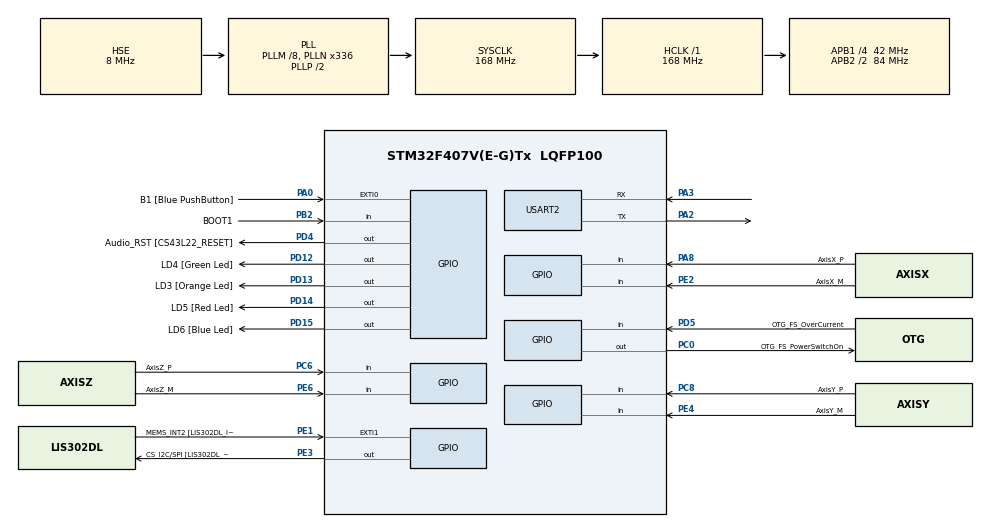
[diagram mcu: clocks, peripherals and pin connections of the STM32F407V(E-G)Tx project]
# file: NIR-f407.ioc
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Mcu.Family=STM32F4
Mcu.Name=STM32F407V(E-G)Tx
Mcu.Package=LQFP100
NVIC.PriorityGroup=NVIC_PRIORITYGROUP_0
NVIC.TIM1_CC_IRQn=true\:0\:0\:false\:false\:true\:true\:true
NVIC.USART2_IRQn=true\:0\:0\:false\:false\:true\:true\:true
PA0-WKUP.GPIO_Label=B1 [Blue PushButton]
PA0-WKUP.GPIO_ModeDefaultEXTI=GPIO_MODE_EVT_RISING
PA0-WKUP.GPIO_PuPd=GPIO_NOPULL
PA0-WKUP.Signal=GPXTI0
PA10.GPIO_Label=OTG_FS_ID
PA10.GPIO_Mode=GPIO_MODE_AF_PP
PA10.GPIO_PuPd=GPIO_NOPULL
PA10.GPIO_Speed=GPIO_SPEED_FREQ_LOW
PA10.Signal=USB_OTG_FS_ID
PA11.GPIO_Label=OTG_FS_DM
PA11.GPIO_Mode=GPIO_MODE_AF_PP
PA11.GPIO_PuPd=GPIO_NOPULL
PA11.GPIO_Speed=GPIO_SPEED_FREQ_LOW
PA11.Signal=USB_OTG_FS_DM
PA12.GPIO_Label=OTG_FS_DP
PA12.GPIO_Mode=GPIO_MODE_AF_PP
PA12.GPIO_PuPd=GPIO_NOPULL
PA12.GPIO_Speed=GPIO_SPEED_FREQ_LOW
PA12.Signal=USB_OTG_FS_DP
PA13.GPIO_Label=SWDIO
PA13.Mode=Serial_Wire
PA13.Signal=SYS_JTMS-SWDIO
PA14.GPIO_Label=SWCLK
PA14.Mode=Serial_Wire
PA14.Signal=SYS_JTCK-SWCLK
PA2.Mode=Asynchronous
PA2.Signal=USART2_TX
PA3.Mode=Asynchronous
PA3.Signal=USART2_RX
PA4.GPIO_Label=I2S3_WS [CS43L22_LRCK]
PA4.GPIO_Mode=GPIO_MODE_AF_PP
PA4.GPIO_PuPd=GPIO_NOPULL
PA4.GPIO_Speed=GPIO_SPEED_FREQ_LOW
PA4.Signal=I2S3_WS
PA5.GPIO_Label=SPI1_SCK [LIS302DL_SCL/SPC]
PA5.GPIO_Mode=GPIO_MODE_AF_PP
PA5.GPIO_PuPd=GPIO_NOPULL
PA5.GPIO_Speed=GPIO_SPEED_FREQ_LOW
PA5.Signal=SPI1_SCK
PA6.GPIO_Label=SPI1_MISO [LIS302DL_SDO]
PA6.GPIO_Mode=GPIO_MODE_AF_PP
PA6.GPIO_PuPd=GPIO_NOPULL
PA6.GPIO_Speed=GPIO_SPEED_FREQ_LOW
PA6.Signal=SPI1_MISO
PA7.GPIO_Label=SPI1_MOSI [LIS302DL_SDA/SDI/SDO]
PA7.GPIO_Mode=GPIO_MODE_AF_PP
PA7.GPIO_PuPd=GPIO_NOPULL
PA7.GPIO_Speed=GPIO_SPEED_FREQ_LOW
PA7.Signal=SPI1_MOSI
PA8.GPIO_Label=AxisX_P
PA8.GPIO_PuPd=GPIO_PULLUP
PA8.Signal=GPIO_Input
PA9.GPIO_Label=VBUS_FS
PA9.GPIO_Mode=GPIO_MODE_INPUT
PA9.GPIO_PuPd=GPIO_NOPULL
PA9.Signal=USB_OTG_FS_VBUS
PB10.GPIO_Label=CLK_IN [MP45DT02_CLK]
PB10.GPIO_Mode=GPIO_MODE_AF_PP
PB10.GPIO_PuPd=GPIO_NOPULL
PB10.GPIO_Speed=GPIO_SPEED_FREQ_LOW
PB10.Signal=I2S2_CK
PB2.GPIO_Label=BOOT1
PB2.GPIO_Mode=GPIO_MODE_INPUT
PB2.GPIO_PuPd=GPIO_NOPULL
PB2.Signal=GPIO_Input
PB3.GPIO_Label=SWO
PB3.Signal=SYS_JTDO-SWO
PB6.GPIO_Label=Audio_SCL [CS43L22_SCL]
PB6.GPIO_Mode=GPIO_MODE_AF_OD
PB6.GPIO_PuPd=GPIO_NOPULL
PB6.GPIO_Speed=GPIO_SPEED_FREQ_LOW
PB6.Signal=I2C1_SCL
PB9.GPIO_Label=Audio_SDA [CS43L22_SDA]
PB9.GPIO_Mode=GPIO_MODE_AF_OD
PB9.GPIO_PuPd=GPIO_NOPULL
PB9.GPIO_Speed=GPIO_SPEED_FREQ_LOW
PB9.Signal=I2C1_SDA
PC0.GPIO_Label=OTG_FS_PowerSwitchOn
PC0.GPIO_PuPd=GPIO_NOPULL
PC0.GPIO_Speed=GPIO_SPEED_FREQ_LOW
PC0.PinState=GPIO_PIN_SET
PC0.Signal=GPIO_Output
PC10.GPIO_Label=I2S3_SCK [CS43L22_SCLK]
PC10.GPIO_Mode=GPIO_MODE_AF_PP
PC10.GPIO_PuPd=GPIO_NOPULL
PC10.GPIO_Speed=GPIO_SPEED_FREQ_LOW
PC10.Signal=I2S3_CK
PC12.GPIO_Label=I2S3_SD [CS43L22_SDIN]
PC12.GPIO_Mode=GPIO_MODE_AF_PP
PC12.GPIO_PuPd=GPIO_NOPULL
PC12.GPIO_Speed=GPIO_SPEED_FREQ_LOW
PC12.Signal=I2S3_SD
PC14-OSC32_IN.GPIO_Label=PC14-OSC32_IN
PC14-OSC32_IN.Mode=LSE-External-Oscillator
PC14-OSC32_IN.Signal=RCC_OSC32_IN
PC15-OSC32_OUT.GPIO_Label=PC15-OSC32_OUT
PC15-OSC32_OUT.Mode=LSE-External-Oscillator
PC15-OSC32_OUT.Signal=RCC_OSC32_OUT
PC3.GPIO_Label=PDM_OUT [MP45DT02_DOUT]
PC3.GPIO_Mode=GPIO_MODE_AF_PP
PC3.GPIO_PuPd=GPIO_NOPULL
PC3.GPIO_Speed=GPIO_SPEED_FREQ_LOW
PC3.Signal=I2S2_SD
PC6.GPIO_Label=AxisZ_P
PC6.GPIO_PuPd=GPIO_PULLUP
PC6.Signal=GPIO_Input
PC7.GPIO_Label=I2S3_MCK [CS43L22_MCLK]
PC7.GPIO_Mode=GPIO_MODE_AF_PP
PC7.GPIO_PuPd=GPIO_NOPULL
PC7.GPIO_Speed=GPIO_SPEED_FREQ_LOW
PC7.Signal=I2S3_MCK
PC8.GPIO_Label=AxisY_P
PC8.GPIO_PuPd=GPIO_PULLUP
PC8.Signal=GPIO_Input
PD12.GPIO_Label=LD4 [Green Led]
PD12.GPIO_PuPd=GPIO_NOPULL
PD12.GPIO_Speed=GPIO_SPEED_FREQ_LOW
PD12.Signal=GPIO_Output
PD13.GPIO_Label=LD3 [Orange Led]
PD13.GPIO_PuPd=GPIO_NOPULL
PD13.GPIO_Speed=GPIO_SPEED_FREQ_LOW
PD13.Signal=GPIO_Output
PD14.GPIO_Label=LD5 [Red Led]
PD14.GPIO_PuPd=GPIO_NOPULL
PD14.GPIO_Speed=GPIO_SPEED_FREQ_LOW
PD14.Signal=GPIO_Output
PD15.GPIO_Label=LD6 [Blue Led]
PD15.GPIO_PuPd=GPIO_NOPULL
PD15.GPIO_Speed=GPIO_SPEED_FREQ_LOW
PD15.Signal=GPIO_Output
PD4.GPIO_Label=Audio_RST [CS43L22_RESET]
PD4.GPIO_PuPd=GPIO_NOPULL
PD4.GPIO_Speed=GPIO_SPEED_FREQ_LOW
PD4.Signal=GPIO_Output
PD5.GPIO_Label=OTG_FS_OverCurrent
PD5.GPIO_Mode=GPIO_MODE_INPUT
PD5.GPIO_PuPd=GPIO_NOPULL
PD5.Signal=GPIO_Input
PE1.GPIO_Label=MEMS_INT2 [LIS302DL_INT2]
PE1.GPIO_ModeDefaultEXTI=GPIO_MODE_EVT_RISING
PE1.GPIO_PuPd=GPIO_NOPULL
PE1.Signal=GPXTI1
PE2.GPIO_Label=AxisX_M
PE2.GPIO_PuPd=GPIO_PULLUP
PE2.Signal=GPIO_Input
PE3.GPIO_Label=CS_I2C/SPI [LIS302DL_CS_I2C/SPI]
PE3.GPIO_PuPd=GPIO_NOPULL
PE3.GPIO_Speed=GPIO_SPEED_FREQ_LOW
PE3.Signal=GPIO_Output
PE4.GPIO_Label=AxisY_M
PE4.GPIO_PuPd=GPIO_PULLUP
PE4.Signal=GPIO_Input
PE6.GPIO_Label=AxisZ_M
PE6.GPIO_PuPd=GPIO_PULLUP
PE6.Signal=GPIO_Input
PH0-OSC_IN.GPIO_Label=PH0-OSC_IN
PH0-OSC_IN.Mode=HSE-External-Oscillator
PH0-OSC_IN.Signal=RCC_OSC_IN
PH1-OSC_OUT.GPIO_Label=PH1-OSC_OUT
PH1-OSC_OUT.Mode=HSE-External-Oscillator
PH1-OSC_OUT.Signal=RCC_OSC_OUT
ProjectManager.HeapSize=0xA000
ProjectManager.StackSize=0x1000
ProjectManager.TargetToolchain=MDK-ARM V5
RCC.48MHZClocksFreq_Value=48000000
RCC.AHBFreq_Value=168000000
RCC.APB1CLKDivider=RCC_HCLK_DIV4
RCC.APB1Freq_Value=42000000
RCC.APB1TimFreq_Value=84000000
RCC.APB2CLKDivider=RCC_HCLK_DIV2
RCC.APB2Freq_Value=84000000
RCC.APB2TimFreq_Value=168000000
RCC.CortexFreq_Value=168000000
RCC.HCLKFreq_Value=168000000
RCC.HSE_VALUE=8000000
RCC.HSI_VALUE=16000000
RCC.PLLM=8
RCC.PLLN=336
RCC.PLLQ=7
RCC.PLLSourceVirtual=RCC_PLLSOURCE_HSE
RCC.SYSCLKFreq_VALUE=168000000
RCC.SYSCLKSource=RCC_SYSCLKSOURCE_PLLCLK
RCC.VCOOutputFreq_Value=336000000
TIM1.Channel-Output\ Compare1\ No\ Output=TIM_CHANNEL_1
TIM1.OCMode_1=TIM_OCMODE_ACTIVE
TIM1.Period=1500
TIM1.Prescaler=83
TIM1.Pulse-Output\ Compare1\ No\ Output=1000
USART2.VirtualMode=VM_ASYNC
VP_TIM1_VS_ClockSourceINT.Mode=Internal
VP_TIM1_VS_no_output1.Mode=Output Compare1 No Output
board=STM32F407G-DISC1

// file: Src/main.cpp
/* USER CODE BEGIN Header */
/**
  ******************************************************************************
  * @file           : main.c
  * @brief          : Main program body
  ******************************************************************************
  * @attention
  *
  * <h2><center>&copy; Copyright (c) 2019 STMicroelectronics.
  * All rights reserved.</center></h2>
  *
  * This software component is licensed by ST under Ultimate Liberty license
  * SLA0044, the "License"; You may not use this file except in compliance with
  * the License. You may obtain a copy of the License at:
  *                             www.st.com/SLA0044
  *
  ******************************************************************************
  */
/* USER CODE END Header */

#include "main.h"

/* USER CODE BEGIN Includes */

#include <string.h>

#include "correct_Eigen_include.h"
#include "manipulator/main_interface.h"

/* USER CODE END Includes */

/* USER CODE BEGIN PD */

#define M_PI 3.1415926535897932384626433832795

#define KINEMATIC_SCHEME_1 0
#define KINEMATIC_SCHEME_2 1

#define CURRENT_KINEMATIC_SCHEME KINEMATIC_SCHEME_2

/* USER CODE END PD */

TIM_HandleTypeDef htim1;

UART_HandleTypeDef huart2;

void SystemClock_Config(void);
static void MX_GPIO_Init(void);
static void MX_TIM1_Init(void);
static void MX_USART2_UART_Init(void);

int main(void)
{

  /* MCU Configuration--------------------------------------------------------*/

  /* Reset of all peripherals, Initializes the Flash interface and the Systick. */
  HAL_Init();

  /* Configure the system clock */
  SystemClock_Config();

  /* Initialize all configured peripherals */
  MX_GPIO_Init();
  MX_TIM1_Init();
  MX_USART2_UART_Init();
  /* USER CODE BEGIN 2 */

  HAL_TIM_Base_Start_IT(&htim1);
  HAL_TIM_OC_Start_IT(&htim1, TIM_CHANNEL_1);

  Vector3f baseSize(4, 1, 4);
	Vector3f zero(0, 0, 0);

	Part basePart(zero, Vector3f::UnitZ(), true);
	basePart.setRoughBounding(baseSize, zero, zero);
	basePart.addBox(baseSize, zero, zero);

    Vector3f obs1Pos(-1.75f, 1.25f, 0);
	Part obstacle1(obs1Pos, Vector3f::UnitY(), true);
    obstacle1.setParent(&basePart);
	obstacle1.setRoughBounding(Vector3f(1, 2.4f, 1.6f), Vector3f(0, 0.45f, 0), zero);
	obstacle1.addBox(Vector3f(0.5f, 1.5f, 1.0f), zero, zero);
	obstacle1.addCilinder(0.5f, 0.8f, Vector3f(0, 1.15f, 0), zero);

    Vector3f obs2Pos(4, 2, 0);
	Part obstacle2(obs2Pos, Vector3f::UnitY(), true);
    obstacle2.setParent(&basePart);
	obstacle2.setRoughBounding(Vector3f(4, 4, 4), zero, zero);
	obstacle2.addBox(Vector3f(4, 4, 4), zero, zero);

    Vector3f obs3Pos(-2, 3, 2);
	Part obstacle3(obs3Pos, Vector3f::UnitY(), true);
    obstacle3.setParent(&basePart);
	obstacle3.setRoughBounding(Vector3f(0.5f, 6.25f, 0.5f), Vector3f(0, 0.125f, 0), zero);
	obstacle3.addCilinder(0.05f, 3, zero, Vector3f(M_PI / 2, 0, 0));
    obstacle3.addSphere(0.25f, Vector3f(0,3,0), zero);

#if CURRENT_KINEMATIC_SCHEME == KINEMATIC_SCHEME_1

	Vector3f joint1(0, 0.5f, 0);
	Part part1(joint1, Vector3f::UnitY(), true);
	part1.setParent(&basePart);
	part1.setRoughBounding(Vector3f(1, 2.6f, 1), Vector3f(0, 1.3f, 0), zero);
	part1.addCilinder(0.5f, 0.25f, Vector3f(0, 0.25f, 0), Vector3f(M_PI / 2, 0, 0));
	part1.addCilinder(0.3f, 1, Vector3f(0, 1.4f, 0), Vector3f(M_PI / 2, 0, 0));

	Vector3f joint2(0, 2.4f, 0);
	Part part2(joint2, Vector3f::UnitZ(), true);
	part2.setParent(&part1);
	part2.setRoughBounding(Vector3f(1, 3.5f, 1), Vector3f(0, 1.3f, 0), zero);
	part2.addCilinder(0.2f, 0.7f, Vector3f(0, 1.3f, 0), Vector3f(M_PI / 2, 0, 0));
	part2.addCilinder(0.25f, 0.3f, zero, zero);
	part2.addCilinder(0.25f, 0.3f, Vector3f(0, 2.6f, 0), zero);
	part2.addBox(Vector3f(0.5f, 0.6f, 0.6f), Vector3f(0, 0.32f, 0), zero);
	part2.addBox(Vector3f(0.5f, 0.6f, 0.6f), Vector3f(0, 2.28f, 0), zero);

	Vector3f joint3(0, 2.6f, 0);
	Part part3(joint3, Vector3f::UnitZ(), true);
	part3.setParent(&part2);
	part3.setRoughBounding(Vector3f(1.5f, 3.2f, 1.3f), Vector3f(0, 1.15f, 0), zero);
	part3.addCilinder(0.15f, 0.1f, Vector3f(0, 2.05f, 0), Vector3f(M_PI / 2, 0, 0));
	part3.addSphere(0.26f, Vector3f(0, 2.343f, 0), zero);
	part3.addBox(Vector3f(0.3f, 1.0f, 0.3f), Vector3f(0, 1.5f, 0), zero);
	part3.addBox(Vector3f(0.6f, 1.3f, 0.3f), Vector3f(0, 0.52f, 0), zero);

#else

    Vector3f joint1(0, 0.5f, 0);
	Part part1(joint1, Vector3f::UnitY(), true);
	part1.setParent(&basePart);
	part1.setRoughBounding(Vector3f(1, 0.9f, 1), Vector3f(0, 0.45f, 0), zero);
	part1.addCilinder(0.5f, 0.05f, Vector3f(0, 0.05f, 0), Vector3f(M_PI / 2, 0, 0));
	part1.addCilinder(0.3f, 0.25f, Vector3f(0, 0.6f, 0), Vector3f(0, M_PI / 2, 0));
	part1.addBox(Vector3f(0.5f, 0.5f, 0.6f), Vector3f(0, 0.35f, 0), zero);

	Vector3f joint2(0, 0.6f, 0);
	Part part2(joint2, Vector3f::UnitX(), true);
	part2.setParent(&part1);
	part2.setRoughBounding(Vector3f(0.5f, 1.2f, 1), Vector3f(0, 0.175f, 0), zero);
	part2.addCilinder(0.3f, 0.15f, zero, Vector3f(0, M_PI / 2, 0));
	part2.addCilinder(0.15f, 0.3f, Vector3f(0, 0.52f, 0), zero);
	part2.addBox(Vector3f(0.3f, 0.5f, 0.6f), Vector3f(0, 0.25f, 0), zero);

	Vector3f joint3(0, 0.5f, 0);
	Part part3(joint3, Vector3f::UnitZ(), false);
	part3.setParent(&part2);
	part3.setRoughBounding(Vector3f(1.5f, 1.5f, 7), Vector3f(0, 0, 1.6f), zero);
	part3.addCilinder(0.075f, 2.6f, Vector3f(0, 0, 1.9f), zero);
	part3.addSphere(0.3f, Vector3f(0, 0, -1), zero);

#endif

	Robot robot;

	robot.addPart(&basePart);
    robot.addPart(&obstacle1);
    robot.addPart(&obstacle2);
    robot.addPart(&obstacle3);
	robot.addPart(&part1);
	robot.addPart(&part2);
	robot.addPart(&part3);

	robot.addPairOfPartsForChecking(&part2, &basePart);
	robot.addPairOfPartsForChecking(&part3, &basePart);
	robot.addPairOfPartsForChecking(&part3, &part1);

    robot.addPairOfPartsForChecking(&part2, &obstacle1);
	robot.addPairOfPartsForChecking(&part3, &obstacle1);
    robot.addPairOfPartsForChecking(&part2, &obstacle2);
	robot.addPairOfPartsForChecking(&part3, &obstacle2);
    robot.addPairOfPartsForChecking(&part2, &obstacle3);
	robot.addPairOfPartsForChecking(&part3, &obstacle3);

  const int numberOfParts = 7;
  float position[numberOfParts] = {0, 0, 0, 0, 0, 0, 0};
	float nextPosition[numberOfParts] = {0, 0, 0, 0, 0, 0, 0};
  float speed[numberOfParts] = {0, 0, 0, 0, 0, 0, 0};

  /* USER CODE END 2 */

  /* Infinite loop */
  /* USER CODE BEGIN WHILE */
  while (1)
  {

		const float targetSpeed = 0.025f;

		bool xPlus  = !HAL_GPIO_ReadPin(AxisX_P_GPIO_Port, AxisX_P_Pin);
		bool xMinus = !HAL_GPIO_ReadPin(AxisX_M_GPIO_Port, AxisX_M_Pin);
		bool yPlus  = !HAL_GPIO_ReadPin(AxisY_P_GPIO_Port, AxisY_P_Pin);
		bool yMinus = !HAL_GPIO_ReadPin(AxisY_M_GPIO_Port, AxisY_M_Pin);
		bool zPlus  = !HAL_GPIO_ReadPin(AxisZ_P_GPIO_Port, AxisZ_P_Pin);
		bool zMinus = !HAL_GPIO_ReadPin(AxisZ_M_GPIO_Port, AxisZ_M_Pin);

		for(int i = 4; i < numberOfParts; i++)
		{
			speed[i] = 0;
		}

		if(xPlus && !(xMinus))
			speed[4] = targetSpeed;
		if(xMinus && !(xPlus))
			speed[4] = -targetSpeed;

		if(yPlus && !(yMinus))
			speed[5] = targetSpeed;
		if(yMinus && !(yPlus))
			speed[5] = -targetSpeed;

		if(zPlus && !(zMinus))
			speed[6] = targetSpeed;
		if(zMinus && !(zPlus))
			speed[6] = -targetSpeed;

    for(int i = 0; i < numberOfParts; i++)
    {
      nextPosition[i] = position[i] + speed[i];
    }

    float slowdown = robot.getSlowdownCoefficient(position, speed, numberOfParts);

    for(int i = 0; i < numberOfParts; i++)
    {
      position[i] += speed[i] * slowdown;
    }

		//number of parts - 1 brcause the base can't move
		const int arraySize = (numberOfParts - 4) * sizeof(float);
		uint8_t sendBuffer[arraySize + 2];
		memcpy(&sendBuffer[2], &position[4], arraySize);
		sendBuffer[0] = 'S';
		sendBuffer[1] = 'T';

		HAL_UART_Transmit(&huart2, sendBuffer, arraySize + 2, 500);
		HAL_Delay(40);
    /* USER CODE END WHILE */

  }
}

void SystemClock_Config(void)
{
  RCC_OscInitTypeDef RCC_OscInitStruct = {0};
  RCC_ClkInitTypeDef RCC_ClkInitStruct = {0};

  /** Configure the main internal regulator output voltage
  */
  __HAL_RCC_PWR_CLK_ENABLE();
  __HAL_PWR_VOLTAGESCALING_CONFIG(PWR_REGULATOR_VOLTAGE_SCALE1);
  /** Initializes the CPU, AHB and APB busses clocks
  */
  RCC_OscInitStruct.OscillatorType = RCC_OSCILLATORTYPE_HSE;
  RCC_OscInitStruct.HSEState = RCC_HSE_ON;
  RCC_OscInitStruct.PLL.PLLState = RCC_PLL_ON;
  RCC_OscInitStruct.PLL.PLLSource = RCC_PLLSOURCE_HSE;
  RCC_OscInitStruct.PLL.PLLM = 8;
  RCC_OscInitStruct.PLL.PLLN = 336;
  RCC_OscInitStruct.PLL.PLLP = RCC_PLLP_DIV2;
  RCC_OscInitStruct.PLL.PLLQ = 7;
  if (HAL_RCC_OscConfig(&RCC_OscInitStruct) != HAL_OK)
  {
    Error_Handler();
  }
  /** Initializes the CPU, AHB and APB busses clocks
  */
  RCC_ClkInitStruct.ClockType = RCC_CLOCKTYPE_HCLK|RCC_CLOCKTYPE_SYSCLK
                              |RCC_CLOCKTYPE_PCLK1|RCC_CLOCKTYPE_PCLK2;
  RCC_ClkInitStruct.SYSCLKSource = RCC_SYSCLKSOURCE_PLLCLK;
  RCC_ClkInitStruct.AHBCLKDivider = RCC_SYSCLK_DIV1;
  RCC_ClkInitStruct.APB1CLKDivider = RCC_HCLK_DIV4;
  RCC_ClkInitStruct.APB2CLKDivider = RCC_HCLK_DIV2;

  if (HAL_RCC_ClockConfig(&RCC_ClkInitStruct, FLASH_LATENCY_5) != HAL_OK)
  {
    Error_Handler();
  }
}

static void MX_TIM1_Init(void)
{

  TIM_ClockConfigTypeDef sClockSourceConfig = {0};
  TIM_MasterConfigTypeDef sMasterConfig = {0};
  TIM_OC_InitTypeDef sConfigOC = {0};
  TIM_BreakDeadTimeConfigTypeDef sBreakDeadTimeConfig = {0};

  htim1.Instance = TIM1;
  htim1.Init.Prescaler = 83;
  htim1.Init.CounterMode = TIM_COUNTERMODE_UP;
  htim1.Init.Period = 1500;
  htim1.Init.ClockDivision = TIM_CLOCKDIVISION_DIV1;
  htim1.Init.RepetitionCounter = 0;
  htim1.Init.AutoReloadPreload = TIM_AUTORELOAD_PRELOAD_DISABLE;
  if (HAL_TIM_Base_Init(&htim1) != HAL_OK)
  {
    Error_Handler();
  }
  sClockSourceConfig.ClockSource = TIM_CLOCKSOURCE_INTERNAL;
  if (HAL_TIM_ConfigClockSource(&htim1, &sClockSourceConfig) != HAL_OK)
  {
    Error_Handler();
  }
  if (HAL_TIM_OC_Init(&htim1) != HAL_OK)
  {
    Error_Handler();
  }
  sMasterConfig.MasterOutputTrigger = TIM_TRGO_RESET;
  sMasterConfig.MasterSlaveMode = TIM_MASTERSLAVEMODE_DISABLE;
  if (HAL_TIMEx_MasterConfigSynchronization(&htim1, &sMasterConfig) != HAL_OK)
  {
    Error_Handler();
  }
  sConfigOC.OCMode = TIM_OCMODE_ACTIVE;
  sConfigOC.Pulse = 1000;
  sConfigOC.OCPolarity = TIM_OCPOLARITY_HIGH;
  sConfigOC.OCNPolarity = TIM_OCNPOLARITY_HIGH;
  sConfigOC.OCFastMode = TIM_OCFAST_DISABLE;
  sConfigOC.OCIdleState = TIM_OCIDLESTATE_RESET;
  sConfigOC.OCNIdleState = TIM_OCNIDLESTATE_RESET;
  if (HAL_TIM_OC_ConfigChannel(&htim1, &sConfigOC, TIM_CHANNEL_1) != HAL_OK)
  {
    Error_Handler();
  }
  sBreakDeadTimeConfig.OffStateRunMode = TIM_OSSR_DISABLE;
  sBreakDeadTimeConfig.OffStateIDLEMode = TIM_OSSI_DISABLE;
  sBreakDeadTimeConfig.LockLevel = TIM_LOCKLEVEL_OFF;
  sBreakDeadTimeConfig.DeadTime = 0;
  sBreakDeadTimeConfig.BreakState = TIM_BREAK_DISABLE;
  sBreakDeadTimeConfig.BreakPolarity = TIM_BREAKPOLARITY_HIGH;
  sBreakDeadTimeConfig.AutomaticOutput = TIM_AUTOMATICOUTPUT_DISABLE;
  if (HAL_TIMEx_ConfigBreakDeadTime(&htim1, &sBreakDeadTimeConfig) != HAL_OK)
  {
    Error_Handler();
  }

}

static void MX_USART2_UART_Init(void)
{

  huart2.Instance = USART2;
  huart2.Init.BaudRate = 115200;
  huart2.Init.WordLength = UART_WORDLENGTH_8B;
  huart2.Init.StopBits = UART_STOPBITS_1;
  huart2.Init.Parity = UART_PARITY_NONE;
  huart2.Init.Mode = UART_MODE_TX_RX;
  huart2.Init.HwFlowCtl = UART_HWCONTROL_NONE;
  huart2.Init.OverSampling = UART_OVERSAMPLING_16;
  if (HAL_UART_Init(&huart2) != HAL_OK)
  {
    Error_Handler();
  }

}

static void MX_GPIO_Init(void)
{
  GPIO_InitTypeDef GPIO_InitStruct = {0};

  /* GPIO Ports Clock Enable */
  __HAL_RCC_GPIOE_CLK_ENABLE();
  __HAL_RCC_GPIOC_CLK_ENABLE();
  __HAL_RCC_GPIOH_CLK_ENABLE();
  __HAL_RCC_GPIOA_CLK_ENABLE();
  __HAL_RCC_GPIOB_CLK_ENABLE();
  __HAL_RCC_GPIOD_CLK_ENABLE();

  /*Configure GPIO pin Output Level */
  HAL_GPIO_WritePin(CS_I2C_SPI_GPIO_Port, CS_I2C_SPI_Pin, GPIO_PIN_RESET);

  /*Configure GPIO pin Output Level */
  HAL_GPIO_WritePin(OTG_FS_PowerSwitchOn_GPIO_Port, OTG_FS_PowerSwitchOn_Pin, GPIO_PIN_SET);

  /*Configure GPIO pin Output Level */
  HAL_GPIO_WritePin(GPIOD, LD4_Pin|LD3_Pin|LD5_Pin|LD6_Pin
                          |Audio_RST_Pin, GPIO_PIN_RESET);

  /*Configure GPIO pins : AxisX_M_Pin AxisY_M_Pin AxisZ_M_Pin */
  GPIO_InitStruct.Pin = AxisX_M_Pin|AxisY_M_Pin|AxisZ_M_Pin;
  GPIO_InitStruct.Mode = GPIO_MODE_INPUT;
  GPIO_InitStruct.Pull = GPIO_PULLUP;
  HAL_GPIO_Init(GPIOE, &GPIO_InitStruct);

  /*Configure GPIO pin : CS_I2C_SPI_Pin */
  GPIO_InitStruct.Pin = CS_I2C_SPI_Pin;
  GPIO_InitStruct.Mode = GPIO_MODE_OUTPUT_PP;
  GPIO_InitStruct.Pull = GPIO_NOPULL;
  GPIO_InitStruct.Speed = GPIO_SPEED_FREQ_LOW;
  HAL_GPIO_Init(CS_I2C_SPI_GPIO_Port, &GPIO_InitStruct);

  /*Configure GPIO pin : OTG_FS_PowerSwitchOn_Pin */
  GPIO_InitStruct.Pin = OTG_FS_PowerSwitchOn_Pin;
  GPIO_InitStruct.Mode = GPIO_MODE_OUTPUT_PP;
  GPIO_InitStruct.Pull = GPIO_NOPULL;
  GPIO_InitStruct.Speed = GPIO_SPEED_FREQ_LOW;
  HAL_GPIO_Init(OTG_FS_PowerSwitchOn_GPIO_Port, &GPIO_InitStruct);

  /*Configure GPIO pin : PDM_OUT_Pin */
  GPIO_InitStruct.Pin = PDM_OUT_Pin;
  GPIO_InitStruct.Mode = GPIO_MODE_AF_PP;
  GPIO_InitStruct.Pull = GPIO_NOPULL;
  GPIO_InitStruct.Speed = GPIO_SPEED_FREQ_LOW;
  GPIO_InitStruct.Alternate = GPIO_AF5_SPI2;
  HAL_GPIO_Init(PDM_OUT_GPIO_Port, &GPIO_InitStruct);

  /*Configure GPIO pin : B1_Pin */
  GPIO_InitStruct.Pin = B1_Pin;
  GPIO_InitStruct.Mode = GPIO_MODE_EVT_RISING;
  GPIO_InitStruct.Pull = GPIO_NOPULL;
  HAL_GPIO_Init(B1_GPIO_Port, &GPIO_InitStruct);

  /*Configure GPIO pin : I2S3_WS_Pin */
  GPIO_InitStruct.Pin = I2S3_WS_Pin;
  GPIO_InitStruct.Mode = GPIO_MODE_AF_PP;
  GPIO_InitStruct.Pull = GPIO_NOPULL;
  GPIO_InitStruct.Speed = GPIO_SPEED_FREQ_LOW;
  GPIO_InitStruct.Alternate = GPIO_AF6_SPI3;
  HAL_GPIO_Init(I2S3_WS_GPIO_Port, &GPIO_InitStruct);

  /*Configure GPIO pins : SPI1_SCK_Pin SPI1_MISO_Pin SPI1_MOSI_Pin */
  GPIO_InitStruct.Pin = SPI1_SCK_Pin|SPI1_MISO_Pin|SPI1_MOSI_Pin;
  GPIO_InitStruct.Mode = GPIO_MODE_AF_PP;
  GPIO_InitStruct.Pull = GPIO_NOPULL;
  GPIO_InitStruct.Speed = GPIO_SPEED_FREQ_LOW;
  GPIO_InitStruct.Alternate = GPIO_AF5_SPI1;
  HAL_GPIO_Init(GPIOA, &GPIO_InitStruct);

  /*Configure GPIO pin : BOOT1_Pin */
  GPIO_InitStruct.Pin = BOOT1_Pin;
  GPIO_InitStruct.Mode = GPIO_MODE_INPUT;
  GPIO_InitStruct.Pull = GPIO_NOPULL;
  HAL_GPIO_Init(BOOT1_GPIO_Port, &GPIO_InitStruct);

  /*Configure GPIO pin : CLK_IN_Pin */
  GPIO_InitStruct.Pin = CLK_IN_Pin;
  GPIO_InitStruct.Mode = GPIO_MODE_AF_PP;
  GPIO_InitStruct.Pull = GPIO_NOPULL;
  GPIO_InitStruct.Speed = GPIO_SPEED_FREQ_LOW;
  GPIO_InitStruct.Alternate = GPIO_AF5_SPI2;
  HAL_GPIO_Init(CLK_IN_GPIO_Port, &GPIO_InitStruct);

  /*Configure GPIO pins : LD4_Pin LD3_Pin LD5_Pin LD6_Pin
                           Audio_RST_Pin */
  GPIO_InitStruct.Pin = LD4_Pin|LD3_Pin|LD5_Pin|LD6_Pin
                          |Audio_RST_Pin;
  GPIO_InitStruct.Mode = GPIO_MODE_OUTPUT_PP;
  GPIO_InitStruct.Pull = GPIO_NOPULL;
  GPIO_InitStruct.Speed = GPIO_SPEED_FREQ_LOW;
  HAL_GPIO_Init(GPIOD, &GPIO_InitStruct);

  /*Configure GPIO pins : AxisZ_P_Pin AxisY_P_Pin */
  GPIO_InitStruct.Pin = AxisZ_P_Pin|AxisY_P_Pin;
  GPIO_InitStruct.Mode = GPIO_MODE_INPUT;
  GPIO_InitStruct.Pull = GPIO_PULLUP;
  HAL_GPIO_Init(GPIOC, &GPIO_InitStruct);

  /*Configure GPIO pins : I2S3_MCK_Pin I2S3_SCK_Pin I2S3_SD_Pin */
  GPIO_InitStruct.Pin = I2S3_MCK_Pin|I2S3_SCK_Pin|I2S3_SD_Pin;
  GPIO_InitStruct.Mode = GPIO_MODE_AF_PP;
  GPIO_InitStruct.Pull = GPIO_NOPULL;
  GPIO_InitStruct.Speed = GPIO_SPEED_FREQ_LOW;
  GPIO_InitStruct.Alternate = GPIO_AF6_SPI3;
  HAL_GPIO_Init(GPIOC, &GPIO_InitStruct);

  /*Configure GPIO pin : AxisX_P_Pin */
  GPIO_InitStruct.Pin = AxisX_P_Pin;
  GPIO_InitStruct.Mode = GPIO_MODE_INPUT;
  GPIO_InitStruct.Pull = GPIO_PULLUP;
  HAL_GPIO_Init(AxisX_P_GPIO_Port, &GPIO_InitStruct);

  /*Configure GPIO pin : VBUS_FS_Pin */
  GPIO_InitStruct.Pin = VBUS_FS_Pin;
  GPIO_InitStruct.Mode = GPIO_MODE_INPUT;
  GPIO_InitStruct.Pull = GPIO_NOPULL;
  HAL_GPIO_Init(VBUS_FS_GPIO_Port, &GPIO_InitStruct);

  /*Configure GPIO pins : OTG_FS_ID_Pin OTG_FS_DM_Pin OTG_FS_DP_Pin */
  GPIO_InitStruct.Pin = OTG_FS_ID_Pin|OTG_FS_DM_Pin|OTG_FS_DP_Pin;
  GPIO_InitStruct.Mode = GPIO_MODE_AF_PP;
  GPIO_InitStruct.Pull = GPIO_NOPULL;
  GPIO_InitStruct.Speed = GPIO_SPEED_FREQ_LOW;
  GPIO_InitStruct.Alternate = GPIO_AF10_OTG_FS;
  HAL_GPIO_Init(GPIOA, &GPIO_InitStruct);

  /*Configure GPIO pin : OTG_FS_OverCurrent_Pin */
  GPIO_InitStruct.Pin = OTG_FS_OverCurrent_Pin;
  GPIO_InitStruct.Mode = GPIO_MODE_INPUT;
  GPIO_InitStruct.Pull = GPIO_NOPULL;
  HAL_GPIO_Init(OTG_FS_OverCurrent_GPIO_Port, &GPIO_InitStruct);

  /*Configure GPIO pins : Audio_SCL_Pin Audio_SDA_Pin */
  GPIO_InitStruct.Pin = Audio_SCL_Pin|Audio_SDA_Pin;
  GPIO_InitStruct.Mode = GPIO_MODE_AF_OD;
  GPIO_InitStruct.Pull = GPIO_PULLUP;
  GPIO_InitStruct.Speed = GPIO_SPEED_FREQ_LOW;
  GPIO_InitStruct.Alternate = GPIO_AF4_I2C1;
  HAL_GPIO_Init(GPIOB, &GPIO_InitStruct);

  /*Configure GPIO pin : MEMS_INT2_Pin */
  GPIO_InitStruct.Pin = MEMS_INT2_Pin;
  GPIO_InitStruct.Mode = GPIO_MODE_EVT_RISING;
  GPIO_InitStruct.Pull = GPIO_NOPULL;
  HAL_GPIO_Init(MEMS_INT2_GPIO_Port, &GPIO_InitStruct);

}

void Error_Handler(void)
{
}

/************************ (C) COPYRIGHT STMicroelectronics *****END OF FILE****/
